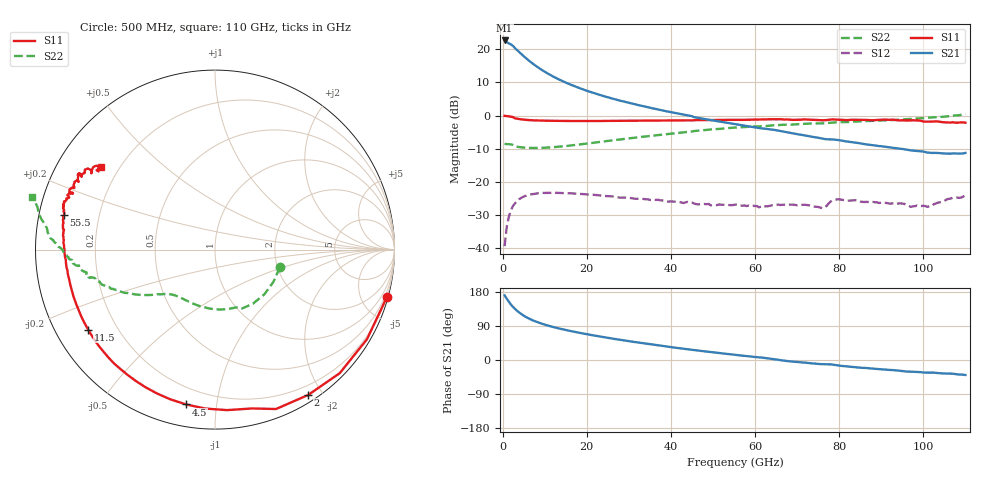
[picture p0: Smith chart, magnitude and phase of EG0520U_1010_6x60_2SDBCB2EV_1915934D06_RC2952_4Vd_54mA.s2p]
!File name = EG0520U_1010_6x60_2SDBCB2EV_1915934D06_RC2952_4Vd_54mA.s2p
!Base file name = EG0520U_1010_6x60_2SDBCB2EV_1915934D06_RC2952
!Date = 8/23/2019
!Time = 1:17 PM
!Test duration(min) = 0.15
!Test = S-Parameters
!MPTS version = 8.91.5
!State File = C:\Data\PNA\20190821205423\S-Parameters_2019-08-23.sta
!Cal File =
!ComputerName = CMPE-LAB-6
!Comments =
!Attenuation = 0
!Z0 = 50
!Input Power(dBm) = -13.00
!Device ID = EG0520U_1010_6x60_2SDBCB2EV
!Row = 29
!Column = 52
!Technology = QPHT09
!Lot/Wafer = 1915934D06
!Gate Size = 360
!Mask = EG0520
!Cal Standards = GaAs BCB
!Cal Kit = EG2306
!Job Number = 20190821205423
!Device Type = FET
!set_Vg(v) = -1.500
!set_Vd(v) = 4.000
!set_Vd(mA) = 54.000
!file_name = EG0520U_1010_6x60_2SDBCB2EV_1915934D06_RC2952_4Vd_54mA.s2p
!Vd(V) = 4.000
!Vd(mA) = 54.168
!Vg(V) = -0.444
!Vg(mA) = -0.002
# GHz  S  DB  R  50
!%	Freq(GHz)  s11(dB)  s11(deg)  s21(dB)  s21(deg)  s12(dB)  s12(deg)  s22(dB)  s22(deg)
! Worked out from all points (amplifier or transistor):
!   220 points, 500 MHz to 110 GHz, reference 50 ohm
!   highest |S21| = 22.7 dB at 500 MHz (marker M1)
!   |S21| within 3 dB of that: start of sweep to 3.54 GHz
!   unconditionally stable (mu >= 1): 29.83 GHz to 101.5 GHz
!   at 18.5 GHz: K = 0.59, MSG = 15.9 dB, |S12| = -23.6 dB
!   at 55.5 GHz: K = 1.59, MAG = 7.6 dB, |S12| = -26.8 dB
!   at 110 GHz: K = -2.20, MSG = 6.4 dB, |S12| = -24.0 dB
!   S11 on the Smith chart (normalised r, x): 500 MHz: 0.18, -7.34; 2 GHz: 0.08, -1.82; 4.5 GHz: 0.11, -0.83; 11.5 GHz: 0.10, -0.29; 55.5 GHz: 0.07, +0.11; 110 GHz: 0.13, +0.32
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0.5  -0.06 -15.5  22.68 170.5  -39.39 80.8  -8.52 -15.3
1  -0.15 -30.6  22.19 161.8  -33.65 72.8  -8.60 -29.0
1.5  -0.19 -44.7  21.79 153.9  -30.54 65.3  -8.61 -42.2
2  -0.34 -57.4  21.52 146.5  -28.57 58.4  -8.68 -55.1
2.5  -0.44 -69.1  21.04 139.9  -27.22 52.4  -8.85 -65.4
3  -0.83 -76.9  20.33 134.7  -26.44 48.0  -9.28 -69.6
3.5  -0.95 -85.8  19.73 129.6  -25.72 43.6  -9.40 -77.4
4.5  -1.14 -100.5  18.56 120.9  -24.77 36.3  -9.56 -90.6
5  -1.20 -106.6  17.98 117.2  -24.45 33.3  -9.64 -95.9
6  -1.32 -116.9  16.89 110.9  -24.00 28.3  -9.73 -104.6
7.5  -1.43 -128.6  15.39 103.2  -23.61 22.6  -9.76 -114.2
9.5  -1.50 -139.6  13.67 95.3  -23.34 17.1  -9.72 -122.1
11.5  -1.56 -147.7  12.17 88.7  -23.29 13.1  -9.59 -127.7
15  -1.61 -157.6  9.99 79.3  -23.41 8.4  -9.19 -134.0
19  -1.62 -165.3  7.98 70.2  -23.67 4.6  -8.59 -138.3
27  -1.58 -175.1  4.83 54.9  -24.50 1.3  -7.33 -144.1
37  -1.46 177.3  1.85 38.4  -25.39 2.7  -5.84 -150.7
55.5  -1.27 166.9  -2.61 13.4  -26.82 11.0  -3.58 -163.2
73.5  -1.26 158.8  -6.36 -8.9  -27.34 12.0  -2.33 -172.3
92  -1.27 150.6  -9.58 -26.2  -26.55 -0.1  -1.36 179.7
101  -1.83 148.4  -11.14 -33.5  -27.54 1.1  -0.62 174.7
110  -2.13 144.0  -11.26 -39.5  -24.04 -2.3  0.51 164.1
